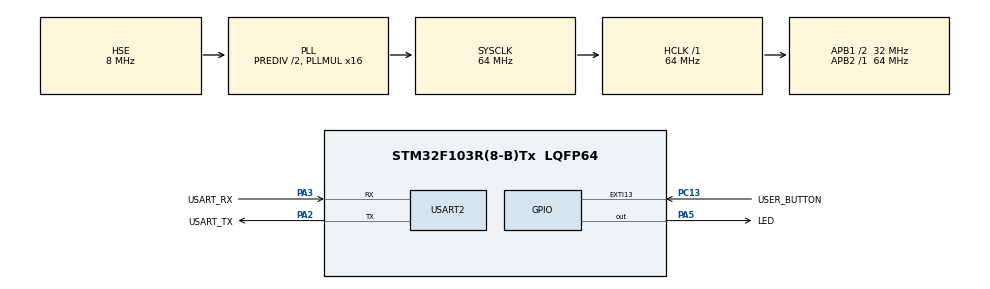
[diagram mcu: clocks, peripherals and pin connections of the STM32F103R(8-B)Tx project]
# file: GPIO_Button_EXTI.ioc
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Mcu.Family=STM32F1
Mcu.Name=STM32F103R(8-B)Tx
Mcu.Package=LQFP64
NVIC.EXTI15_10_IRQn=true\:0\:0\:false\:false\:true\:true\:true\:true
NVIC.PriorityGroup=NVIC_PRIORITYGROUP_4
NVIC.TIM2_IRQn=true\:0\:0\:false\:false\:true\:true\:true\:true
PA13.GPIO_Label=TMS
PA13.Mode=Serial_Wire
PA13.Signal=SYS_JTMS-SWDIO
PA14.GPIO_Label=TCK
PA14.Mode=Serial_Wire
PA14.Signal=SYS_JTCK-SWCLK
PA2.GPIO_Label=USART_TX
PA2.GPIO_Mode=GPIO_MODE_AF_PP
PA2.GPIO_PuPd=GPIO_NOPULL
PA2.GPIO_Speed=GPIO_SPEED_FREQ_LOW
PA2.Mode=Asynchronous
PA2.Signal=USART2_TX
PA3.GPIO_Label=USART_RX
PA3.GPIO_Mode=GPIO_MODE_AF_PP
PA3.GPIO_PuPd=GPIO_NOPULL
PA3.GPIO_Speed=GPIO_SPEED_FREQ_LOW
PA3.Mode=Asynchronous
PA3.Signal=USART2_RX
PA5.GPIO_Label=LED
PA5.GPIO_ModeDefaultOutputPP=GPIO_MODE_OUTPUT_PP
PA5.GPIO_PuPd=GPIO_NOPULL
PA5.GPIO_Speed=GPIO_SPEED_FREQ_LOW
PA5.Signal=GPIO_Output
PB3.GPIO_Label=SWO
PB3.Signal=SYS_JTDO-TRACESWO
PC13-TAMPER-RTC.GPIO_Label=USER_BUTTON
PC13-TAMPER-RTC.GPIO_PuPd=GPIO_PULLUP
PC13-TAMPER-RTC.Signal=GPXTI13
PC14-OSC32_IN.Mode=LSE-External-Oscillator
PC14-OSC32_IN.Signal=RCC_OSC32_IN
PC15-OSC32_OUT.Mode=LSE-External-Oscillator
PC15-OSC32_OUT.Signal=RCC_OSC32_OUT
PD0-OSC_IN.Mode=HSE-External-Clock-Source
PD0-OSC_IN.Signal=RCC_OSC_IN
PD1-OSC_OUT.Mode=HSE-External-Clock-Source
PD1-OSC_OUT.Signal=RCC_OSC_OUT
ProjectManager.HeapSize=0x200
ProjectManager.StackSize=0x400
ProjectManager.TargetToolchain=STM32CubeIDE
RCC.AHBFreq_Value=64000000
RCC.APB1CLKDivider=RCC_HCLK_DIV2
RCC.APB1Freq_Value=32000000
RCC.APB1TimFreq_Value=64000000
RCC.APB2Freq_Value=64000000
RCC.APB2TimFreq_Value=64000000
RCC.HCLKFreq_Value=64000000
RCC.HSEDivPLL=RCC_HSE_PREDIV_DIV2
RCC.PLLMUL=RCC_PLL_MUL16
RCC.PLLSourceVirtual=RCC_PLLSOURCE_HSE
RCC.RTCClockSelection=RCC_RTCCLKSOURCE_LSE
RCC.SYSCLKFreq_VALUE=64000000
RCC.SYSCLKSource=RCC_SYSCLKSOURCE_PLLCLK
RCC.USBFreq_Value=64000000
TIM2.Period=1-1
TIM2.Prescaler=64000-1
USART2.VirtualMode=VM_ASYNC
VP_TIM2_VS_ClockSourceINT.Mode=Internal
board=NUCLEO-F103RB

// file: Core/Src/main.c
/* USER CODE BEGIN Header */
/**
  ******************************************************************************
  * @file           : main.c
  * @brief          : Main program body
  ******************************************************************************
  * @attention
  *
  * Copyright (c) 2025 STMicroelectronics.
  * All rights reserved.
  *
  * This software is licensed under terms that can be found in the LICENSE file
  * in the root directory of this software component.
  * If no LICENSE file comes with this software, it is provided AS-IS.
  *
  ******************************************************************************
  */
/* USER CODE END Header */
#include "main.h"
#include "tim.h"
#include "usart.h"
#include "gpio.h"
#include "button_fsm.h"
#include "led_fsm.h"

/* USER CODE BEGIN PV */
ButtonCtx_t btn_user;
ButtonCtx_t btn_aux;
/* USER CODE END PV */

void SystemClock_Config(void);

/* USER CODE BEGIN 0 */
/*
 * === STM32 BASIC TEMPLATE ===
 * - Event-driven architecture
 * - ISR: only counters / event flags
 * - main loop: all hardware actions
 * - No HAL_Delay() in ISR
 * - One event → one reaction
 *
 * Project: GPIO_Button_EXTI
 * Source event: EXTI (USER BUTTON)
 */
/* Application-level LED state (decoupled from LED FSM internals) */
static LedMode_t app_led_mode = LED_MODE_OFF;
static uint8_t UserButton_Read(void)
{
    /* кнопка активна по LOW */
    return (HAL_GPIO_ReadPin(USER_BUTTON_GPIO_Port, USER_BUTTON_Pin) == GPIO_PIN_RESET);
}

uint8_t AuxButton_Read(void)
{

	return 0;
}
/* USER CODE END 0 */

int main(void)
{

  /* MCU Configuration--------------------------------------------------------*/

  /* Reset of all peripherals, Initializes the Flash interface and the Systick. */
  HAL_Init();

  /* Configure the system clock */
  SystemClock_Config();

  /* Initialize all configured peripherals */
  MX_GPIO_Init();
  MX_USART2_UART_Init();
  MX_TIM2_Init();
  /* USER CODE BEGIN 2 */
  HAL_TIM_Base_Start_IT(&htim2);
  Button_Init(&btn_user, UserButton_Read);
  Button_Init(&btn_aux,  AuxButton_Read);
  Led_Init();
  /* USER CODE END 2 */

  /* Infinite loop */
  /* USER CODE BEGIN WHILE */
  while (1)
  {
      Button_Process(&btn_user);
      Button_Process(&btn_aux);
      Led_Process();
      switch (Button_GetEvent(&btn_user)) {
          case BTN_EVENT_SHORT:
        	  if (app_led_mode == LED_MODE_OFF)
        	              {app_led_mode = LED_MODE_BLINK;}
        	          else
        	              {app_led_mode = LED_MODE_OFF;}
        	  	  	  Led_SetMode(app_led_mode);
        	          break;

          case BTN_EVENT_LONG:
        	  app_led_mode = LED_MODE_ON;
        	  Led_SetMode(app_led_mode);
              break;
          default:
              break;
      }

      switch (Button_GetEvent(&btn_aux)) {
          case BTN_EVENT_SHORT:
              // логика AUX кнопки
              break;
          default:
              break;
      	  }
  	  }

    /* USER CODE END WHILE */

}

void SystemClock_Config(void)
{
  RCC_OscInitTypeDef RCC_OscInitStruct = {0};
  RCC_ClkInitTypeDef RCC_ClkInitStruct = {0};

  /** Initializes the RCC Oscillators according to the specified parameters
  * in the RCC_OscInitTypeDef structure.
  */
  RCC_OscInitStruct.OscillatorType = RCC_OSCILLATORTYPE_HSE;
  RCC_OscInitStruct.HSEState = RCC_HSE_BYPASS;
  RCC_OscInitStruct.HSEPredivValue = RCC_HSE_PREDIV_DIV2;
  RCC_OscInitStruct.HSIState = RCC_HSI_ON;
  RCC_OscInitStruct.PLL.PLLState = RCC_PLL_ON;
  RCC_OscInitStruct.PLL.PLLSource = RCC_PLLSOURCE_HSE;
  RCC_OscInitStruct.PLL.PLLMUL = RCC_PLL_MUL16;
  if (HAL_RCC_OscConfig(&RCC_OscInitStruct) != HAL_OK)
  {
    Error_Handler();
  }

  /** Initializes the CPU, AHB and APB buses clocks
  */
  RCC_ClkInitStruct.ClockType = RCC_CLOCKTYPE_HCLK|RCC_CLOCKTYPE_SYSCLK
                              |RCC_CLOCKTYPE_PCLK1|RCC_CLOCKTYPE_PCLK2;
  RCC_ClkInitStruct.SYSCLKSource = RCC_SYSCLKSOURCE_PLLCLK;
  RCC_ClkInitStruct.AHBCLKDivider = RCC_SYSCLK_DIV1;
  RCC_ClkInitStruct.APB1CLKDivider = RCC_HCLK_DIV2;
  RCC_ClkInitStruct.APB2CLKDivider = RCC_HCLK_DIV1;

  if (HAL_RCC_ClockConfig(&RCC_ClkInitStruct, FLASH_LATENCY_2) != HAL_OK)
  {
    Error_Handler();
  }
}

/* USER CODE BEGIN 4 */
void HAL_TIM_PeriodElapsedCallback(TIM_HandleTypeDef *htim)
{
    if (htim->Instance == TIM2)
    {
    	//HAL_GPIO_TogglePin(LED_GPIO_Port, LED_Pin); // DEBUG
    	Button_OnTick(&btn_user);
    	Button_OnTick(&btn_aux);
    	Led_OnTick();
    }
}

void HAL_GPIO_EXTI_Callback(uint16_t GPIO_Pin)
{
    if (GPIO_Pin == USER_BUTTON_Pin) {
        Button_OnExti(&btn_user);
    }
}

/* USER CODE END 4 */

void Error_Handler(void)
{
  __disable_irq();
  while (1)
  {
  }
}
